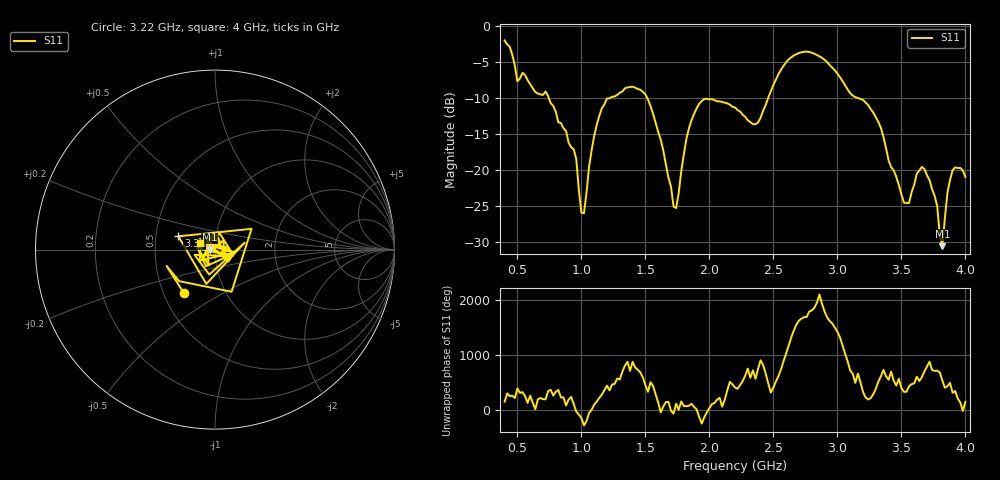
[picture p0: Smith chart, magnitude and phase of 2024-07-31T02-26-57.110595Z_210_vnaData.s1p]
!Created with skrf (http://scikit-rf.org).
# Hz S RI R 50.0
!freq ReS11 ImS11
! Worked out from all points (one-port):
!   181 points, 400 MHz to 4 GHz, reference 50 ohm
!   lowest |S11| = -30.5 dB at 3.82 GHz (marker M1), VSWR 1.06, Z = 47.1 - j0.0112 ohm
!   |S11| at or under -10 dB: 746.6 MHz to 1.209 GHz (462.5 MHz wide, 47.3 % of centre); 1.516 GHz to 2.458 GHz (941.9 MHz wide, 47.4 % of centre); 3.169 GHz to end of sweep
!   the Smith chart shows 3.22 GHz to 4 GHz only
!   S11 on the Smith chart (normalised r, x): 3.22 GHz: 0.63, -0.33; 3.32 GHz: 0.65, +0.10; 4 GHz: 0.85, +0.07
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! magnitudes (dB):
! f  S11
! 400 MHz  -2.0
! 500 MHz  -7.6
! 720 MHz  -9.0
! 860 MHz  -14.2
! 960 MHz  -18.4
! 1 GHz  -25.8
! 1.02 GHz  -26.0
! 1.14 GHz  -12.4
! 1.3 GHz  -9.2
! 1.5 GHz  -9.4
! 1.72 GHz  -25.0
! 1.76 GHz  -23.2
! 1.82 GHz  -15.6
! 1.92 GHz  -10.8
! 2.2 GHz  -11.3
! 2.38 GHz  -13.3
! 2.66 GHz  -4.0
! 2.88 GHz  -4.4
! 3.1 GHz  -9.3
! 3.22 GHz  -10.6
! 3.32 GHz  -13.3
! 3.56 GHz  -24.5
! 3.68 GHz  -19.8
! 3.78 GHz  -25.0
! 3.82 GHz  -30.5
! 3.86 GHz  -23.0
! 3.9 GHz  -20.0
! 4 GHz  -20.9
